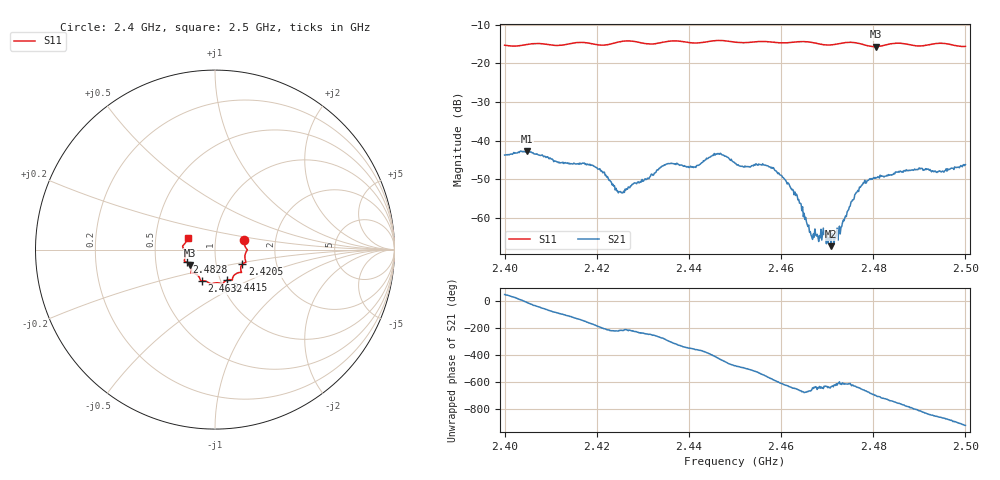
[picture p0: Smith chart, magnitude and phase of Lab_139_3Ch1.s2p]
# Hz S RI R 50
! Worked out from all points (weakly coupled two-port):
!   601 points, 2.4 GHz to 2.5 GHz, reference 50 ohm
!   highest |S21| = -42.73 dB at 2.4048 GHz (marker M1); lowest = -67.4 dB at 2.4708 GHz (marker M2)
!   lowest |S11| = -15.7 dB at 2.4807 GHz (marker M3), VSWR 1.39, Z = 37.2 - j6.55 ohm
!   |S11| at or under -10 dB: start of sweep to end of sweep
!   S12 and S22 are empty: the file has one direction only
!   S11 on the Smith chart (normalised r, x): 2.4 GHz: 1.38, +0.15; 2.4205 GHz: 1.34, -0.22; 2.4415 GHz: 1.07, -0.38; 2.4632 GHz: 0.82, -0.29; 2.4828 GHz: 0.72, -0.10; 2.5 GHz: 0.73, +0.10
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2.4e9  0.1634 0.0517  0.00424 0.00489  0 0  0 0
2.404833e9  0.175 0.00516  0.00721 -0.00113  0 0  0 0
2.411833e9  0.1665 -0.0351  -6.52e-05 -0.00523  0 0  0 0
2.416667e9  0.1727 -0.07  -0.00382 -0.0032  0 0  0 0
2.4205e9  0.152 -0.0816  -0.00421 0.000779  0 0  0 0
2.425167e9  0.1462 -0.1226  -0.00175 0.0013  0 0  0 0
2.433333e9  0.1003 -0.1517  -0.000325 0.00415  0 0  0 0
2.435833e9  0.097 -0.1675  0.00257 0.00432  0 0  0 0
2.4415e9  0.0655 -0.1706  0.00448 9.38e-06  0 0  0 0
2.446333e9  0.0408 -0.1931  0.00291 -0.00603  0 0  0 0
2.45e9  0.0242 -0.1864  -0.0025 -0.00442  0 0  0 0
2.458e9  -0.0314 -0.1855  -0.00359 0.00272  0 0  0 0
2.463167e9  -0.073 -0.1739  0.000653 0.00183  0 0  0 0
2.466667e9  -0.0822 -0.1671  0.000267 0.000499  0 0  0 0
2.470833e9  -0.1072 -0.1357  4.35e-05 0.000426  0 0  0 0
2.472833e9  -0.1256 -0.1301  -0.000144 0.000599  0 0  0 0
2.475667e9  -0.134 -0.129  -0.000126 0.00171  0 0  0 0
2.4775e9  -0.131 -0.1188  0.00108 0.00241  0 0  0 0
2.480667e9  -0.14 -0.0857  0.00313 0.000933  0 0  0 0
2.482833e9  -0.1587 -0.07  0.00343 -0.000548  0 0  0 0
2.483333e9  -0.1626 -0.068  0.00351 -0.000872  0 0  0 0
2.5e9  -0.1527 0.0644  -0.00445 0.00197  0 0  0 0
